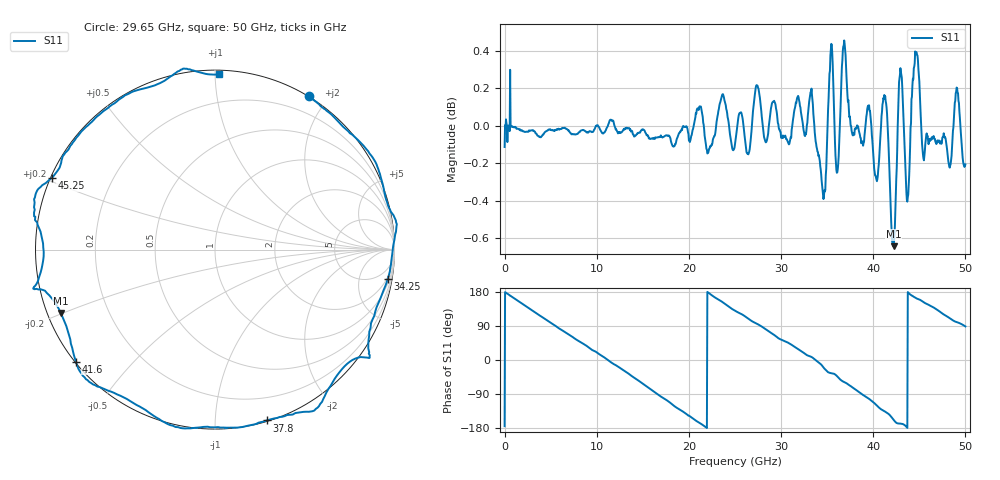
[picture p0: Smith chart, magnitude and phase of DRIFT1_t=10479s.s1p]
!Created with skrf (http://scikit-rf.org).
# Hz S RI R 50.0
!freq ReS11 ImS11
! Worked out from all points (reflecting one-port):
!   1001 points, 300 kHz to 50 GHz, reference 50 ohm
!   lowest |S11| = -0.6 dB at 42.2 GHz (marker M1), VSWR 27.00, Z = 1.92 - j9.88 ohm
!   phase of S11 starts at -175 deg and turns -817 deg over the sweep
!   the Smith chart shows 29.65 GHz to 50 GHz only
!   S11 on the Smith chart (normalised r, x): 29.65 GHz: -0.00, +1.78; 34.25 GHz: 2, -11; 37.8 GHz: 0.01, -1.35; 41.6 GHz: 0.00, -0.35; 45.25 GHz: 0.00, +0.21; 50 GHz: 0.02, +1.02
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300000  -0.9826 -0.0919
1.500291e9  -0.9057 0.4188
3.30028e9  -0.5804 0.8096
6.250262e9  0.2029 0.9777
9.500243e9  0.8923 0.4426
1.250022e10  0.9321 -0.3507
1.580021e10  0.2368 -0.9631
1.74002e10  -0.2246 -0.9679
1.875019e10  -0.5987 -0.7918
2.150017e10  -0.9942 -0.1485
2.350016e10  -0.922 0.4273
2.500015e10  -0.6337 0.7592
2.740014e10  -0.0949 1.021
2.965012e10  0.522 0.8547
3.125011e10  0.7872 0.6196
3.31001e10  1.001 0.1772
3.425009e10  0.9612 -0.1659
3.520009e10  0.8568 -0.5606
3.750008e10  0.3724 -0.9318
3.780007e10  0.2869 -0.9516
3.955006e10  -0.2201 -0.9883
4.160005e10  -0.775 -0.6243
4.220005e10  -0.8586 -0.3538
4.290004e10  -1.008 -0.2199
4.375004e10  -0.9568 0.0117
4.525003e10  -0.9106 0.3997
4.775001e10  -0.479 0.8695
5e10  0.0236 0.9762
